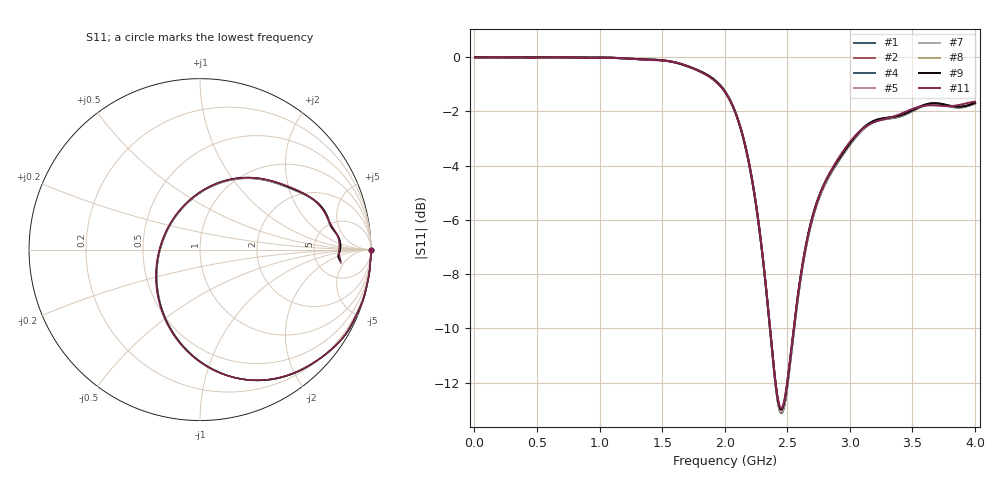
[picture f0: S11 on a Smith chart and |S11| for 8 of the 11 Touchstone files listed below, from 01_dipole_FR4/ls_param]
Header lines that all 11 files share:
! TOUCHSTONE file generated by CST MICROWAVE STUDIO
! Project name: AppElm_antenne_dipole_FR4.cst
! Header version: 2018
! Port assignment regex: !\s*Touchstone port\s*([0-9]+)\s*=\s*(CST MWS port|CST DS port)\s*([0-9]+|Zmin|Zmax)\s*\(\"(.*)\"\)(\s*mode\s*([0-9]+))?.*
! Touchstone port assignment:
! Touchstone port 1 = CST MWS port 1 ("")
# GHz S MA R 50
Fixed: L = 38.8, e = 0.035, f = 2.45e+09, h = 1.6, i = 0.8, l1 = 4, lambda = 122.449, wl = 1.7, ws = 80
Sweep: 4 MHz to 4 GHz
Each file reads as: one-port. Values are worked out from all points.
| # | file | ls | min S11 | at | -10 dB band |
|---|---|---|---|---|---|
| 1 | AppElm_antenne_dipole_FR4_1.s1p | 22.5 | -13.1 dB | 2.452 GHz | 192.9 MHz wide |
| 2 | AppElm_antenne_dipole_FR4_2.s1p | 24 | -13.1 dB | 2.452 GHz | 193 MHz wide |
| 3 | AppElm_antenne_dipole_FR4_3.s1p | 25.5 | -13.1 dB | 2.452 GHz | 192.9 MHz wide |
| 4 | AppElm_antenne_dipole_FR4_4.s1p | 27 | -13.1 dB | 2.452 GHz | 192.6 MHz wide |
| 5 | AppElm_antenne_dipole_FR4_5.s1p | 28.5 | -13.1 dB | 2.452 GHz | 192.1 MHz wide |
| 6 | AppElm_antenne_dipole_FR4_6.s1p | 30 | -13.1 dB | 2.452 GHz | 191.5 MHz wide |
| 7 | AppElm_antenne_dipole_FR4_7.s1p | 31.5 | -13.0 dB | 2.452 GHz | 190.9 MHz wide |
| 8 | AppElm_antenne_dipole_FR4_8.s1p | 33 | -13.0 dB | 2.452 GHz | 190.1 MHz wide |
| 9 | AppElm_antenne_dipole_FR4_9.s1p | 34.5 | -13.0 dB | 2.452 GHz | 189.3 MHz wide |
| 10 | AppElm_antenne_dipole_FR4_10.s1p | 36 | -13.0 dB | 2.452 GHz | 188.5 MHz wide |
| 11 | AppElm_antenne_dipole_FR4_11.s1p | 37.5 | -12.9 dB | 2.452 GHz | 188.3 MHz wide |
